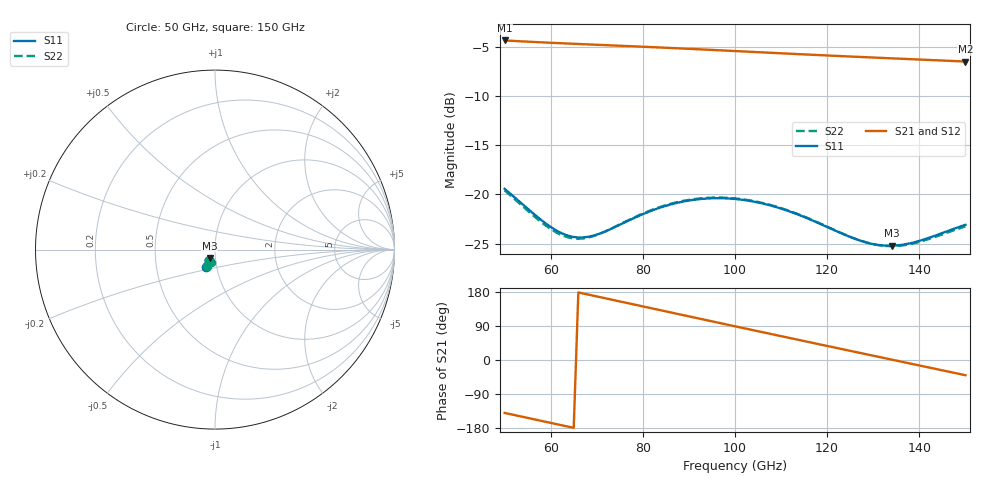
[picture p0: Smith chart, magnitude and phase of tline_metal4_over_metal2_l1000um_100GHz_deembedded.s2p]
! Created with skrf 2.2.0 (http://scikit-rf.org).
# GHz S DB R 50.0
! Port[1] = P1
! Port[2] = P2
!freq dBS11 angS11 dBS21 angS21 dBS12 angS12 dBS22 angS22
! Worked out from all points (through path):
!   101 points, 50 GHz to 150 GHz, reference 50 ohm
!   highest |S21| = -4.34 dB at 50 GHz (marker M1); lowest = -6.5 dB at 150 GHz (marker M2)
!   group delay of S21, straight-line fit = 7.24 ps
!   lowest |S11| = -25.2 dB at 134 GHz (marker M3), VSWR 1.12, Z = 47 - j4.38 ohm
!   |S11| at or under -10 dB: start of sweep to end of sweep
!   |S22| runs from -25.3 to -19.6 dB; largest |S21 - S12| = 6.7e-14
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50  -19.43 -116.7  -4.34 -139.6  -4.34 -139.6  -19.59 -116.4
56  -21.85 -118.1  -4.49 -155.4  -4.49 -155.4  -22.05 -117.3
61  -23.60 -112.7  -4.60 -168.6  -4.60 -168.6  -23.81 -111.2
64  -24.22 -106.9  -4.66 -176.5  -4.66 -176.5  -24.39 -105.0
67  -24.37 -100.5  -4.72 175.7  -4.72 175.7  -24.47 -98.5
70  -24.08 -95.3  -4.78 167.8  -4.78 167.8  -24.12 -93.2
75  -23.08 -90.9  -4.88 154.6  -4.88 154.6  -23.05 -89.2
79  -22.21 -91.2  -4.96 144.1  -4.96 144.1  -22.15 -89.8
84  -21.30 -94.8  -5.06 130.9  -5.06 130.9  -21.23 -93.7
88  -20.80 -99.3  -5.15 120.4  -5.15 120.4  -20.72 -98.4
92  -20.49 -104.5  -5.23 109.9  -5.23 109.9  -20.42 -103.8
96  -20.38 -110.0  -5.32 99.4  -5.32 99.4  -20.32 -109.5
100  -20.46 -115.6  -5.42 88.9  -5.42 88.9  -20.40 -115.2
104  -20.72 -120.9  -5.51 78.5  -5.51 78.5  -20.67 -120.6
108  -21.16 -125.7  -5.60 68.1  -5.60 68.1  -21.11 -125.5
117  -22.69 -132.8  -5.80 44.8  -5.80 44.8  -22.64 -132.9
122  -23.73 -133.3  -5.91 31.9  -5.91 31.9  -23.70 -133.6
126  -24.50 -131.2  -5.99 21.6  -5.99 21.6  -24.49 -131.8
130  -25.05 -127.2  -6.08 11.3  -6.08 11.3  -25.06 -127.9
134  -25.21 -122.0  -6.16 1.0  -6.16 1.0  -25.26 -122.9
142  -24.42 -114.0  -6.32 -19.6  -6.32 -19.6  -24.54 -114.9
150  -23.08 -113.3  -6.48 -40.1  -6.48 -40.1  -23.24 -114.2
